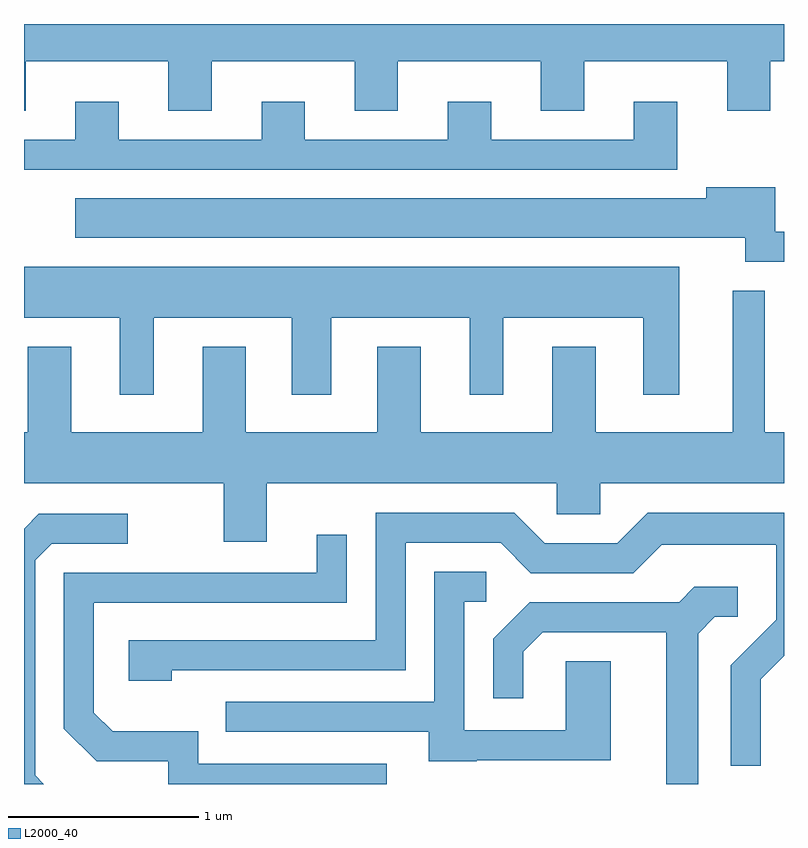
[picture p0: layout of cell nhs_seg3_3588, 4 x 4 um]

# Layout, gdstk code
import gdstk
lib = gdstk.Library(unit=1e-6, precision=1e-09)
def P(c, l, *ps):  # polygons
    for p in ps: c.add(gdstk.Polygon(p, *l))
L2000_40 = (2000, 40)

nhs_seg3_3588 = lib.new_cell('nhs_seg3_3588')
P(nhs_seg3_3588, L2000_40, [(289.619,1223.696),(290.371,1223.696),(290.371,1223.436),(290.599,1223.436),(290.599,1223.696),(291.351,1223.696),(291.351,1223.436),(291.579,1223.436),(291.579,1223.696),(292.331,1223.696),(292.331,1223.436),(292.559,1223.436),(292.559,1223.696),(293.311,1223.696),(293.311,1223.436),(293.539,1223.436),(293.539,1223.696),(293.611,1223.696),(293.611,1223.892),(289.611,1223.892),(289.611,1223.436),(289.619,1223.436)],
  [(293.049,1223.484),(292.821,1223.484),(292.821,1223.284),(292.069,1223.284),(292.069,1223.484),(291.841,1223.484),(291.841,1223.284),(291.089,1223.284),(291.089,1223.484),(290.861,1223.484),(290.861,1223.284),(290.109,1223.284),(290.109,1223.484),(289.881,1223.484),(289.881,1223.284),(289.611,1223.284),(289.611,1223.126),(293.049,1223.126)],
  [(293.611,1222.799),(293.564,1222.799),(293.564,1223.034),(293.201,1223.034),(293.201,1222.974),(289.881,1222.974),(289.881,1222.766),(293.406,1222.766),(293.406,1222.641),(293.611,1222.641)],
  [(290.294,1222.346),(291.021,1222.346),(291.021,1221.941),(291.229,1221.941),(291.229,1222.346),(291.956,1222.346),(291.956,1221.941),(292.134,1221.941),(292.134,1222.346),(292.871,1222.346),(292.871,1221.941),(293.059,1221.941),(293.059,1222.614),(289.611,1222.614),(289.611,1222.346),(290.116,1222.346),(290.116,1221.941),(290.294,1221.941)],
  [(290.889,1221.476),(292.416,1221.476),(292.416,1221.311),(292.644,1221.311),(292.644,1221.476),(293.611,1221.476),(293.611,1221.744),(293.509,1221.744),(293.509,1222.488),(293.341,1222.488),(293.341,1221.744),(292.619,1221.744),(292.619,1222.194),(292.391,1222.194),(292.391,1221.744),(291.699,1221.744),(291.699,1222.194),(291.471,1222.194),(291.471,1221.744),(290.779,1221.744),(290.779,1222.194),(290.551,1222.194),(290.551,1221.744),(289.859,1221.744),(289.859,1222.194),(289.631,1222.194),(289.631,1221.744),(289.611,1221.744),(289.611,1221.476),(290.661,1221.476),(290.661,1221.166),(290.889,1221.166)],
  [(293.489,1220.444),(293.611,1220.566),(293.611,1221.319),(292.894,1221.319),(292.734,1221.159),(292.352,1221.159),(292.192,1221.319),(291.461,1221.319),(291.461,1220.649),(290.161,1220.649),(290.161,1220.436),(290.389,1220.436),(290.389,1220.491),(291.619,1220.491),(291.619,1221.161),(292.119,1221.161),(292.279,1221.001),(292.817,1221.001),(292.967,1221.151),(293.571,1221.151),(293.571,1220.757),(293.331,1220.517),(293.331,1219.988),(293.489,1219.988)],
  [(289.669,1219.937),(289.669,1221.069),(289.757,1221.156),(290.158,1221.156),(290.158,1221.314),(289.689,1221.314),(289.611,1221.236),(289.611,1219.892),(289.714,1219.892)],
  [(291.519,1219.999),(290.529,1219.999),(290.529,1220.169),(290.077,1220.169),(289.979,1220.267),(289.979,1220.846),(291.309,1220.846),(291.309,1221.203),(291.151,1221.203),(291.151,1221.004),(289.821,1221.004),(289.821,1220.184),(289.994,1220.011),(290.371,1220.011),(290.371,1219.892),(291.519,1219.892)],
  [(291.995,1220.016),(292.699,1220.016),(292.699,1220.539),(292.461,1220.539),(292.461,1220.174),(291.929,1220.174),(291.929,1220.851),(292.043,1220.851),(292.043,1221.009),(291.771,1221.009),(291.771,1220.324),(290.673,1220.324),(290.673,1220.166),(291.741,1220.166),(291.741,1220.011),(291.995,1220.011)],
  [(293.159,1220.684),(293.247,1220.771),(293.368,1220.771),(293.368,1220.929),(293.139,1220.929),(293.059,1220.849),(292.274,1220.849),(292.081,1220.657),(292.081,1220.343),(292.239,1220.343),(292.239,1220.589),(292.342,1220.691),(292.991,1220.691),(292.991,1219.892),(293.159,1219.892)])

lib.write_gds('nhs_seg3_3588.gds')
